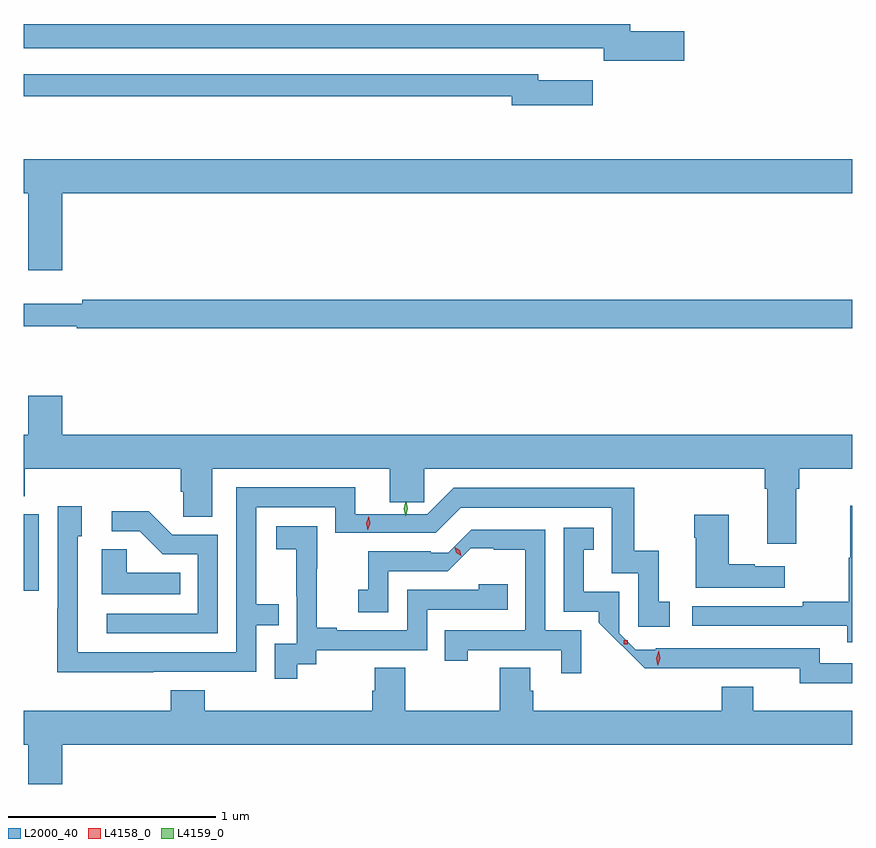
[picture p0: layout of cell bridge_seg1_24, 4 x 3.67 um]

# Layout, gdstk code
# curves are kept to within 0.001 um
import gdstk
lib = gdstk.Library(unit=1e-6, precision=1e-09)
def R(c, l, rs):  # rectangles x0, y0, x1, y1
    for r in rs: c.add(gdstk.rectangle(r[:2], r[2:], *l))
def P(c, l, *ps):  # polygons
    for p in ps: c.add(gdstk.Polygon(p, *l))
L2000_40 = (2000, 40)
L4158_0 = (4158, 0)
L4159_0 = (4159, 0)

bridge_seg1_24 = lib.new_cell('bridge_seg1_24')
R(bridge_seg1_24, L2000_40, [(920.229,525.837,920.301,526.206)])
P(bridge_seg1_24, L2000_40, [(923.419,528.536),(923.158,528.536),(923.158,528.572),(920.229,528.572),(920.229,528.456),(922.81,528.456),(922.81,528.455),(923.03,528.455),(923.03,528.394),(923.419,528.394)],
  [(922.975,528.301),(922.714,528.301),(922.714,528.33),(920.229,528.33),(920.229,528.222),(922.586,528.222),(922.586,528.179),(922.975,528.179)],
  [(920.416,527.756),(924.229,527.756),(924.229,527.92),(920.229,527.92),(920.229,527.756),(920.252,527.756),(920.252,527.382),(920.416,527.382)],
  [(924.229,527.24),(920.512,527.24),(920.512,527.221),(920.229,527.221),(920.229,527.112),(920.486,527.112),(920.486,527.104),(924.229,527.104)],
  [(923.959,526.328),(923.972,526.328),(923.972,526.424),(924.229,526.424),(924.229,526.588),(920.416,526.588),(920.416,526.777),(920.252,526.777),(920.252,526.588),(920.229,526.588),(920.229,526.291),(920.234,526.291),(920.234,526.424),(920.987,526.424),(920.987,526.315),(921,526.315),(921,526.192),(921.139,526.192),(921.139,526.424),(921.995,526.424),(921.995,526.263),(922.162,526.263),(922.162,526.424),(923.807,526.424),(923.807,526.328),(923.819,526.328),(923.819,526.062),(923.959,526.062)],
  [(920.855,525.444),(921.351,525.444),(921.351,525.669),(921.461,525.669),(921.461,525.77),(921.351,525.77),(921.351,526.239),(921.732,526.239),(921.732,526.116),(922.218,526.116),(922.338,526.236),(923.067,526.236),(923.067,525.921),(923.196,525.921),(923.196,525.663),(923.347,525.663),(923.347,525.783),(923.294,525.783),(923.294,526.03),(923.176,526.03),(923.176,526.332),(922.304,526.332),(922.177,526.205),(921.829,526.205),(921.829,526.335),(921.255,526.335),(921.255,525.54),(920.49,525.54),(920.49,526.098),(920.509,526.098),(920.509,526.243),(920.394,526.243),(920.394,525.749),(920.392,525.749),(920.392,525.443)],
  [(924.229,526.246),(924.22,526.246),(924.22,525.996),(924.213,525.996),(924.213,525.782),(923.989,525.782),(923.989,525.762),(923.457,525.762),(923.457,525.666),(924.205,525.666),(924.205,525.588),(924.229,525.588)],
  [(921.165,526.107),(920.946,526.107),(920.833,526.22),(920.655,526.22),(920.655,526.122),(920.789,526.122),(920.9,526.011),(921.069,526.011),(921.069,525.726),(920.631,525.726),(920.631,525.63),(921.165,525.63)],
  [(923.902,525.955),(923.759,525.955),(923.759,525.965),(923.632,525.965),(923.632,526.204),(923.467,526.204),(923.467,526.091),(923.474,526.091),(923.474,525.851),(923.902,525.851)],
  [(921.55,525.481),(921.642,525.481),(921.642,525.549),(922.176,525.549),(922.176,525.744),(922.565,525.744),(922.565,525.868),(922.425,525.868),(922.425,525.84),(922.08,525.84),(922.08,525.645),(921.739,525.645),(921.739,525.658),(921.644,525.658),(921.644,525.941),(921.645,525.941),(921.645,526.147),(921.447,526.147),(921.447,526.037),(921.545,526.037),(921.545,525.809),(921.546,525.809),(921.546,525.579),(921.441,525.579),(921.441,525.411),(921.55,525.411)],
  [(924.229,525.486),(924.072,525.486),(924.072,525.558),(923.281,525.558),(923.281,525.552),(923.184,525.552),(923.105,525.631),(923.105,525.831),(922.933,525.831),(922.933,526.035),(922.982,526.035),(922.982,526.141),(922.836,526.141),(922.836,525.735),(923.005,525.735),(923.005,525.681),(923.226,525.461),(923.976,525.462),(923.976,525.389),(924.229,525.389)],
  [(922.92,525.645),(922.746,525.645),(922.746,526.131),(922.389,526.131),(922.278,526.02),(922.193,526.02),(922.193,526.026),(921.892,526.026),(921.892,525.841),(921.843,525.841),(921.843,525.732),(921.99,525.732),(921.99,525.93),(922.277,525.93),(922.388,526.041),(922.498,526.041),(922.498,526.034),(922.65,526.034),(922.65,525.645),(922.261,525.645),(922.261,525.498),(922.372,525.498),(922.372,525.549),(922.823,525.549),(922.823,525.438),(922.92,525.438)],
  [(920.984,525.922),(920.727,525.922),(920.727,526.037),(920.606,526.037),(920.606,525.818),(920.984,525.818)],
  [(920.416,525.092),(924.229,525.092),(924.229,525.256),(923.752,525.256),(923.752,525.373),(923.6,525.373),(923.6,525.256),(922.688,525.256),(922.688,525.354),(922.675,525.354),(922.675,525.464),(922.528,525.464),(922.528,525.256),(922.071,525.256),(922.071,525.464),(921.923,525.464),(921.923,525.354),(921.911,525.354),(921.911,525.256),(921.104,525.256),(921.104,525.355),(920.939,525.355),(920.939,525.256),(920.229,525.256),(920.229,525.092),(920.252,525.092),(920.252,524.903),(920.416,524.903)])
R(bridge_seg1_24, L4158_0, [(923.126,525.578,923.146,525.598)])
P(bridge_seg1_24, L4158_0, [(922.341,526.005),(922.318,526.019),(922.31,526.045),(922.31,526.045),(922.31,526.045),(922.334,526.031),(922.342,526.005),(922.342,526.005)],
  [(921.891,526.127),(921.891,526.127),(921.883,526.162),(921.894,526.196),(921.894,526.196),(921.895,526.196),(921.903,526.161),(921.891,526.127)],
  [(923.291,525.474),(923.291,525.474),(923.283,525.511),(923.294,525.546),(923.294,525.547),(923.294,525.546),(923.303,525.51),(923.291,525.474)])
P(bridge_seg1_24, L4159_0, [(922.073,526.195),(922.073,526.195),(922.064,526.231),(922.074,526.267),(922.075,526.267),(922.075,526.267),(922.084,526.231),(922.074,526.195)])

lib.write_gds('bridge_seg1_24.gds')
